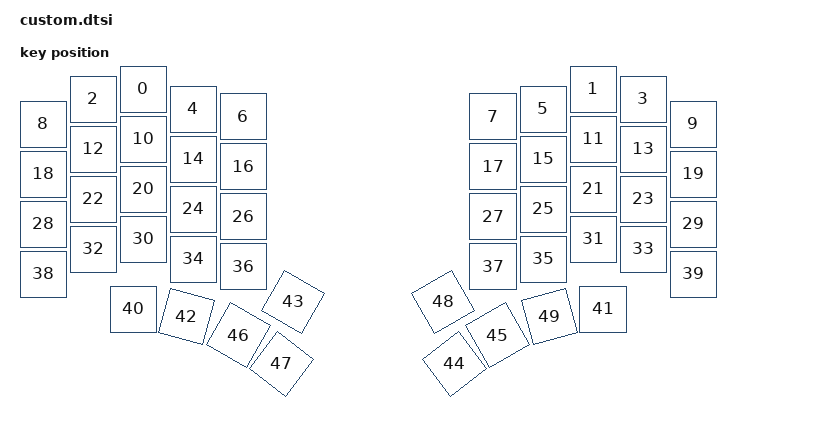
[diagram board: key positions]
#include <physical_layouts.dtsi>

/ {
    physical_layout0: physical_layout_0 {
        compatible = "zmk,physical-layout";
        display-name = "Layout 0";

        kscan = <&kscan0>;
        transform = <&matrix_transform0>;

        keys  //                     w   h    x    y     rot    rx    ry
            = <&key_physical_attrs 100 100  200    0       0     0     0>
            , <&key_physical_attrs 100 100 1100    0       0     0     0>
            , <&key_physical_attrs 100 100  100   20       0     0     0>
            , <&key_physical_attrs 100 100 1200   20       0     0     0>
            , <&key_physical_attrs 100 100  300   40       0     0     0>
            , <&key_physical_attrs 100 100 1000   40       0     0     0>
            , <&key_physical_attrs 100 100  400   55       0     0     0>
            , <&key_physical_attrs 100 100  900   55       0     0     0>
            , <&key_physical_attrs 100 100    0   70       0     0     0>
            , <&key_physical_attrs 100 100 1300   70       0     0     0>
            , <&key_physical_attrs 100 100  200  100       0     0     0>
            , <&key_physical_attrs 100 100 1100  100       0     0     0>
            , <&key_physical_attrs 100 100  100  120       0     0     0>
            , <&key_physical_attrs 100 100 1200  120       0     0     0>
            , <&key_physical_attrs 100 100  300  140       0     0     0>
            , <&key_physical_attrs 100 100 1000  140       0     0     0>
            , <&key_physical_attrs 100 100  400  155       0     0     0>
            , <&key_physical_attrs 100 100  900  155       0     0     0>
            , <&key_physical_attrs 100 100    0  170       0     0     0>
            , <&key_physical_attrs 100 100 1300  170       0     0     0>
            , <&key_physical_attrs 100 100  200  200       0     0     0>
            , <&key_physical_attrs 100 100 1100  200       0     0     0>
            , <&key_physical_attrs 100 100  100  220       0     0     0>
            , <&key_physical_attrs 100 100 1200  220       0     0     0>
            , <&key_physical_attrs 100 100  300  240       0     0     0>
            , <&key_physical_attrs 100 100 1000  240       0     0     0>
            , <&key_physical_attrs 100 100  400  255       0     0     0>
            , <&key_physical_attrs 100 100  900  255       0     0     0>
            , <&key_physical_attrs 100 100    0  270       0     0     0>
            , <&key_physical_attrs 100 100 1300  270       0     0     0>
            , <&key_physical_attrs 100 100  200  300       0     0     0>
            , <&key_physical_attrs 100 100 1100  300       0     0     0>
            , <&key_physical_attrs 100 100  100  320       0     0     0>
            , <&key_physical_attrs 100 100 1200  320       0     0     0>
            , <&key_physical_attrs 100 100  300  340       0     0     0>
            , <&key_physical_attrs 100 100 1000  340       0     0     0>
            , <&key_physical_attrs 100 100  400  355       0     0     0>
            , <&key_physical_attrs 100 100  900  355       0     0     0>
            , <&key_physical_attrs 100 100    0  370       0     0     0>
            , <&key_physical_attrs 100 100 1300  370       0     0     0>
            , <&key_physical_attrs 100 100  180  440       0     0     0>
            , <&key_physical_attrs 100 100 1120  440       0     0     0>
            , <&key_physical_attrs 100 100  290  455    1500   340   495>
            , <&key_physical_attrs 100 100  515  430    3000   565   450>
            , <&key_physical_attrs 100 100  845  625    5250   960   615>
            , <&key_physical_attrs 105 100  925  460    6000   940   510>
            , <&key_physical_attrs 105 100  370  460 (-6000)   460   510>
            , <&key_physical_attrs 100 100  455  625 (-5250)   440   615>
            , <&key_physical_attrs 100 100  785  430 (-3000)   835   450>
            , <&key_physical_attrs 100 100 1010  455 (-1500)  1060   495>
            ;
    };
};
